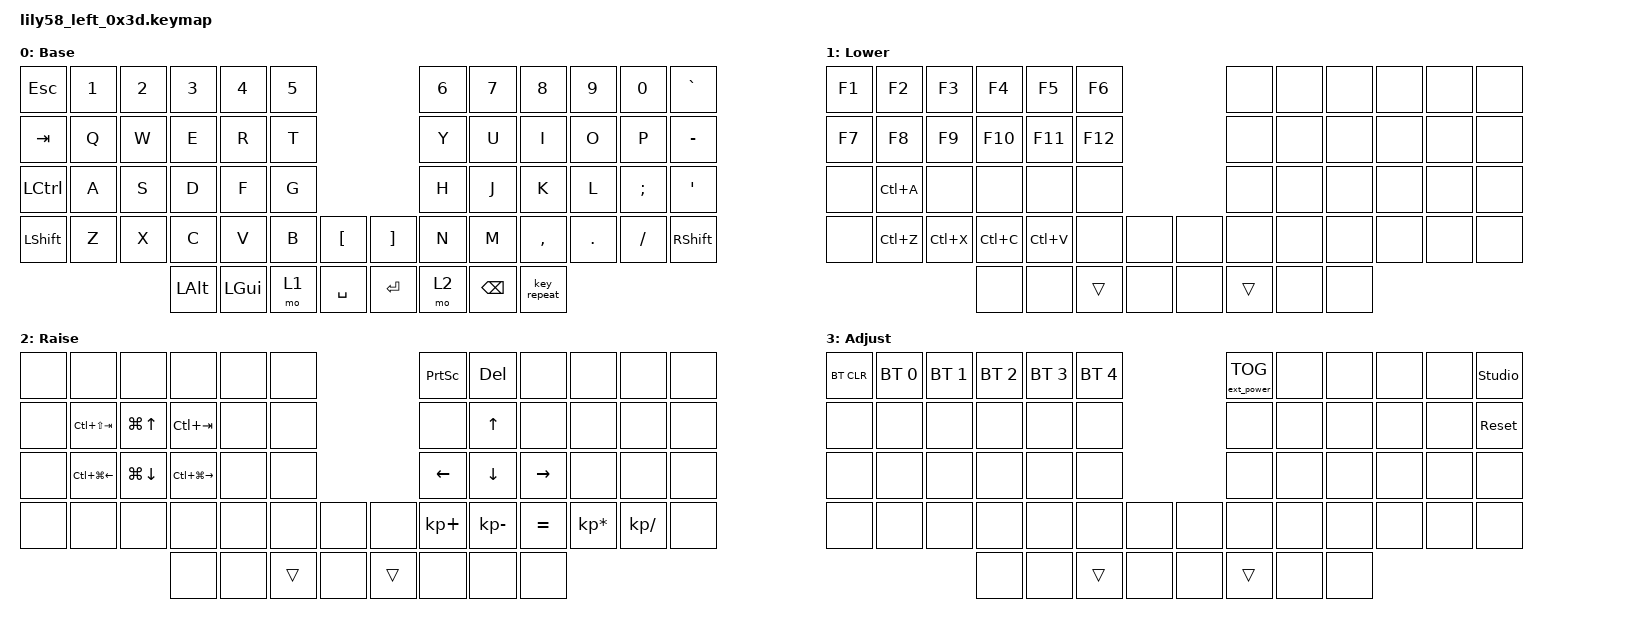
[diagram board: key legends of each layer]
/*
 * Copyright (c) 2020 The ZMK Contributors
 *
 * SPDX-License-Identifier: MIT
 */

#include <behaviors.dtsi>
#include <dt-bindings/zmk/bt.h>
#include <dt-bindings/zmk/ext_power.h>
#include <dt-bindings/zmk/keys.h>

/ {
    conditional_layers {
        compatible = "zmk,conditional-layers";
        tri_layer {
            if-layers = <1 2>;
            then-layer = <3>;
        };
    };

    keymap {
        compatible = "zmk,keymap";

        default_layer {
            display-name = "Base";
            bindings = <
&kp ESC    &kp N1  &kp N2  &kp N3    &kp N4    &kp N5                         &kp N6  &kp N7    &kp N8     &kp N9   &kp N0    &kp GRAVE
&kp TAB    &kp Q   &kp W   &kp E     &kp R     &kp T                          &kp Y   &kp U     &kp I      &kp O    &kp P     &kp MINUS
&kp LCTRL  &kp A   &kp S   &kp D     &kp F     &kp G                          &kp H   &kp J     &kp K      &kp L    &kp SEMI  &kp SQT
&kp LSHFT  &kp Z   &kp X   &kp C     &kp V     &kp B   &kp LBKT     &kp RBKT  &kp N   &kp M     &kp COMMA  &kp DOT  &kp FSLH  &kp RSHFT
                           &kp LALT  &kp LGUI  &mo 1   &kp SPACE    &kp RET   &mo 2   &kp BSPC  &key_repeat
            >;
        };

        lower_layer {
            display-name = "Lower";
            bindings = <
&kp F1     &kp F2     &kp F3     &kp F4     &kp F5     &kp F6                       &none      &none      &none      &none      &none      &none
&kp F7     &kp F8     &kp F9     &kp F10    &kp F11    &kp F12                      &none      &none      &none      &none      &none      &none
&none      &kp LC(A)  &none      &none      &none      &none                        &none      &none      &none      &none      &none      &none
&none      &kp LC(Z)  &kp LC(X)  &kp LC(C)  &kp LC(V)  &none      &none      &none  &none      &none      &none      &none      &none      &none
                                 &none      &none      &trans     &none      &none  &trans     &none      &none
            >;
        };

        raise_layer {
            display-name = "Raise";
            bindings = <
&none  &none           &none           &none             &none  &none                       &kp PSCRN    &kp DELETE    &none      &none            &none         &none
&none  &kp LC(LS(TAB)) &kp LG(UP)      &kp LC(TAB)       &none  &none                       &none        &kp UP        &none      &none            &none         &none
&none  &kp LC(LG(LEFT)) &kp LG(DOWN)   &kp LC(LG(RIGHT)) &none  &none                       &kp LEFT     &kp DOWN      &kp RIGHT  &none            &none         &none
&none  &none           &none           &none             &none  &none      &none     &none  &kp KP_PLUS  &kp KP_MINUS  &kp EQUAL  &kp KP_ASTERISK  &kp KP_SLASH  &none
                                &none  &none             &trans &none      &trans     &none  &none        &none
            >;
        };

        adjust_layer {
            display-name = "Adjust";
            bindings = <
&bt BT_CLR  &bt BT_SEL 0  &bt BT_SEL 1  &bt BT_SEL 2  &bt BT_SEL 3  &bt BT_SEL 4                  &ext_power EP_TOG  &none  &none  &none  &none  &studio_unlock
&none       &none         &none         &none         &none         &none                         &none              &none  &none  &none  &none  &sys_reset
&none       &none         &none         &none         &none         &none                         &none              &none  &none  &none  &none  &none
&none       &none         &none         &none         &none         &none         &none    &none  &none              &none  &none  &none  &none  &none
                                        &none         &none         &trans        &none    &none  &trans             &none  &none
            >;
        };
    };
};
